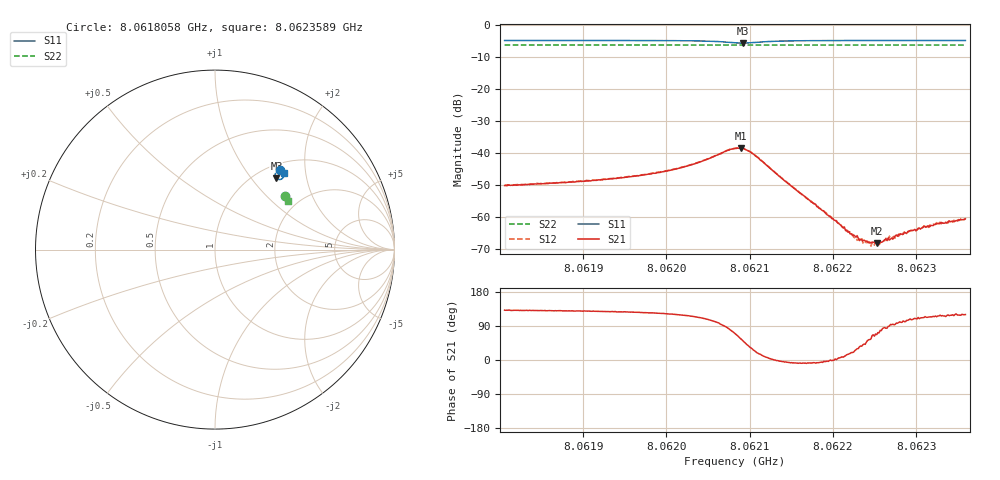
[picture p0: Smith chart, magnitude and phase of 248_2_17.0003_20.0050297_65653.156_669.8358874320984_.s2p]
#  HZ  S  RI  R  50.00
! Rohde & Schwarz Vector Network Analyzer
! Rohde-Schwarz,ZNB20-2Port,1311601062101988,3.16
! Created: UTC 3/20/2024, 11:03:10 PM
! freq[Hz]  re:S11  im:S11  re:S21  im:S21  re:S12  im:S12  re:S22  im:S22
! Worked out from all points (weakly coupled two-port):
!   401 points, 8.0618058 GHz to 8.0623589 GHz, reference 50 ohm
!   highest |S21| = -38.35 dB at 8.0620893 GHz (marker M1); lowest = -68.0 dB at 8.0622525 GHz (marker M2)
!   lowest |S11| = -5.6 dB at 8.0620921 GHz (marker M3), VSWR 3.20, Z = 61.4 + j67.2 ohm
!   |S11| at or under -10 dB: nowhere
!   |S22| runs from -6.3 to -6.2 dB; largest |S21 - S12| = 0.00086
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8.06180582e9  0.3643 0.4459  -0.00207 0.00234  -0.00195 0.00253  0.3894 0.2966
8.06189847e9  0.3712 0.4399  -0.00228 0.00281  -0.00217 0.00298  0.3926 0.292
8.0619607e9  0.3764 0.4343  -0.00257 0.00352  -0.00242 0.00372  0.3949 0.2888
8.06199112e9  0.3792 0.43  -0.00276 0.00418  -0.00254 0.00438  0.3958 0.2872
8.06203398e9  0.3831 0.4189  -0.00281 0.00623  -0.00247 0.00645  0.3972 0.2847
8.06208238e9  0.3582 0.3904  0.0041 0.0112  0.00484 0.0109  0.3971 0.2815
8.06208929e9  0.3462 0.3938  0.00677 0.01  0.00734 0.00957  0.397 0.2816
8.06209206e9  0.342 0.397  0.00756 0.00908  0.00818 0.00869  0.3968 0.2816
8.06210727e9  0.3351 0.4209  0.00835 0.00332  0.00864 0.00286  0.3974 0.2821
8.06214322e9  0.3564 0.4391  0.00361 -0.000319  0.00361 -0.000582  0.3998 0.2808
8.06217503e9  0.3667 0.4386  0.00169 -0.000229  0.00169 -0.000325  0.4011 0.2792
8.06221789e9  0.3742 0.4358  0.000566 0.000151  0.000608 9.64e-05  0.4029 0.277
8.06222757e9  0.3754 0.4349  0.000434 0.000224  0.000441 0.000203  0.4031 0.2764
8.06223449e9  0.3762 0.4345  0.000355 0.000262  0.000406 0.000256  0.4034 0.2759
8.06224278e9  0.3772 0.4339  0.000238 0.000322  0.000252 0.000321  0.4037 0.2756
8.06225246e9  0.3783 0.4333  0.000155 0.000365  0.000193 0.000379  0.4041 0.2751
8.06226767e9  0.3797 0.4323  4.62e-06 0.000441  3.24e-05 0.000506  0.4046 0.2743
8.06227873e9  0.3806 0.4316  -8.16e-05 0.000538  -6.45e-05 0.0005  0.4049 0.2738
8.06228703e9  0.3815 0.4312  -0.00011 0.000561  -7.17e-05 0.000567  0.4053 0.2732
8.06231192e9  0.3833 0.4297  -0.000271 0.000647  -0.000209 0.000657  0.406 0.2721
8.06232575e9  0.3845 0.4287  -0.000349 0.000711  -0.000296 0.000726  0.4065 0.2713
8.06235894e9  0.3869 0.4267  -0.000472 0.00082  -0.000431 0.000853  0.4075 0.2696
